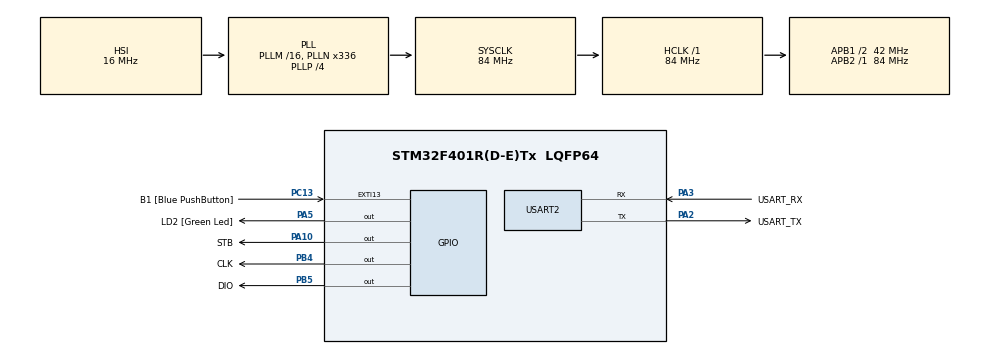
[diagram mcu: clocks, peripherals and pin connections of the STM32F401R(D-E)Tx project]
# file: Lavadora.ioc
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Mcu.Family=STM32F4
Mcu.Name=STM32F401R(D-E)Tx
Mcu.Package=LQFP64
NVIC.PriorityGroup=NVIC_PRIORITYGROUP_4
PA10.GPIO_Label=STB
PA10.Signal=GPIO_Output
PA13.GPIO_Label=TMS
PA13.Mode=Trace_Asynchronous_SW
PA13.Signal=SYS_JTMS-SWDIO
PA14.GPIO_Label=TCK
PA14.Mode=Trace_Asynchronous_SW
PA14.Signal=SYS_JTCK-SWCLK
PA2.GPIO_Label=USART_TX
PA2.GPIO_Mode=GPIO_MODE_AF_PP
PA2.GPIO_PuPd=GPIO_NOPULL
PA2.GPIO_Speed=GPIO_SPEED_FREQ_LOW
PA2.Mode=Asynchronous
PA2.Signal=USART2_TX
PA3.GPIO_Label=USART_RX
PA3.GPIO_Mode=GPIO_MODE_AF_PP
PA3.GPIO_PuPd=GPIO_NOPULL
PA3.GPIO_Speed=GPIO_SPEED_FREQ_LOW
PA3.Mode=Asynchronous
PA3.Signal=USART2_RX
PA5.GPIO_Label=LD2 [Green Led]
PA5.GPIO_Mode=GPIO_MODE_OUTPUT_PP
PA5.GPIO_PuPd=GPIO_NOPULL
PA5.GPIO_Speed=GPIO_SPEED_FREQ_LOW
PA5.Signal=GPIO_Output
PB3.GPIO_Label=SWO
PB3.Mode=Trace_Asynchronous_SW
PB3.Signal=SYS_JTDO-SWO
PB4.GPIO_Label=CLK
PB4.Signal=GPIO_Output
PB5.GPIO_Label=DIO
PB5.Signal=GPIO_Output
PC13-ANTI_TAMP.GPIO_Label=B1 [Blue PushButton]
PC13-ANTI_TAMP.GPIO_ModeDefaultEXTI=GPIO_MODE_IT_FALLING
PC13-ANTI_TAMP.GPIO_PuPd=GPIO_NOPULL
PC13-ANTI_TAMP.Signal=GPXTI13
PC14-OSC32_IN.Mode=LSE-External-Oscillator
PC14-OSC32_IN.Signal=RCC_OSC32_IN
PC15-OSC32_OUT.Mode=LSE-External-Oscillator
PC15-OSC32_OUT.Signal=RCC_OSC32_OUT
PH0\ -\ OSC_IN.Mode=HSE-External-Clock-Source
PH0\ -\ OSC_IN.Signal=RCC_OSC_IN
PH1\ -\ OSC_OUT.Mode=HSE-External-Clock-Source
PH1\ -\ OSC_OUT.Signal=RCC_OSC_OUT
ProjectManager.HeapSize=0x200
ProjectManager.StackSize=0x400
ProjectManager.TargetToolchain=STM32CubeIDE
RCC.48MHZClocksFreq_Value=48000000
RCC.AHBFreq_Value=84000000
RCC.APB1CLKDivider=RCC_HCLK_DIV2
RCC.APB1Freq_Value=42000000
RCC.APB1TimFreq_Value=84000000
RCC.APB2Freq_Value=84000000
RCC.APB2TimFreq_Value=84000000
RCC.CortexFreq_Value=84000000
RCC.HCLKFreq_Value=84000000
RCC.HSE_VALUE=8000000
RCC.HSI_VALUE=16000000
RCC.PLLN=336
RCC.PLLP=RCC_PLLP_DIV4
RCC.PLLQ=7
RCC.SYSCLKFreq_VALUE=84000000
RCC.SYSCLKSource=RCC_SYSCLKSOURCE_PLLCLK
RCC.VCOOutputFreq_Value=336000000
USART2.VirtualMode=VM_ASYNC
board=NUCLEO-F401RE

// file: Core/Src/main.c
/* USER CODE BEGIN Header */
/**
  ******************************************************************************
  * @file           : main.c
  * @brief          : Main program body
  ******************************************************************************
  * @attention
  *
  * Copyright (c) 2026 STMicroelectronics.
  * All rights reserved.
  *
  * This software is licensed under terms that can be found in the LICENSE file
  * in the root directory of this software component.
  * If no LICENSE file comes with this software, it is provided AS-IS.
  *
  ******************************************************************************
  */
/* USER CODE END Header */
#include "main.h"
#include <stdio.h>
/* USER CODE BEGIN Includes */
#include "TM1638.h"
/* USER CODE END Includes */

/* USER CODE BEGIN PTD */
TM1638 TM;
#define TICK_MS 10
/* USER CODE END PTD */

UART_HandleTypeDef huart2;
int faseActual=1;

void SystemClock_Config(void);
static void MX_GPIO_Init(void);
static void MX_USART2_UART_Init(void);

/* USER CODE BEGIN 0 */
enum Estado{
	PARADA,
	FUNCIONANDO,
	PAUSA
};
void representacionTexto(int fase, int valor[3]){
	char caracteres[9];
	sprintf(caracteres, "F%d %d%d.%02d", fase, valor[2], valor[1], valor[0]);
	tm1638_DisplayTxt(&TM, caracteres);
}
void retrocesoCronometro(int valor[3]){
	valor[0]--;
	if(valor[0]<0){
		valor[0]=99;
		valor[1]--;
		if(valor[1]<0){
			valor[1]=9;
			valor[2]--;
			if(valor[2]<0){
				valor[0]=0;
				valor[1]=0;
				valor[2]=0;
			}
		}
	}
}
void controlFase(int nuevaFase, int valor[3]){
	faseActual=nuevaFase;
	int segundosFase=10;
	switch(nuevaFase){
		case 1:
			segundosFase=10;
			break;
		case 2:
			segundosFase=20;
			break;
		case 3:
			segundosFase=30;
			break;
		case 4:
			segundosFase=40;
			break;
	}
	valor[2]=segundosFase/10; //Decenas
	valor[1]=segundosFase%10; //Unidades
	valor[0]=0; //Centesimas
}
/* USER CODE END 0 */

int main(void)
{

  /* MCU Configuration--------------------------------------------------------*/

  /* Reset of all peripherals, Initializes the Flash interface and the Systick. */
  HAL_Init();

  /* Configure the system clock */
  SystemClock_Config();

  /* Initialize all configured peripherals */
  MX_GPIO_Init();
  MX_USART2_UART_Init();
  /* USER CODE BEGIN 2 */
  TM.clk_port=CLK_GPIO_Port;
  TM.clk_pin=CLK_Pin;
  TM.dio_port=DIO_GPIO_Port;
  TM.dio_pin=DIO_Pin;
  TM.stb_port=STB_GPIO_Port;
  TM.stb_pin=STB_Pin;

  tm1638_TurnOn(&TM, 7);
  tm1638_DisplayClear(&TM);

  int valor[3]={0,0,0};
  controlFase(1, valor);
  static uint32_t tCuenta=0;
  tCuenta=HAL_GetTick();

  enum Estado estadoActual=PARADA;
  int teclaAnterior=0;
  /* USER CODE END 2 */

  /* Infinite loop */
  while (1)
  {
	  //LECTURA DE LAS TECLAS
	  uint8_t teclas=tm1638_ScanButtons(&TM);
	  int teclaPulsada=tm1638_ReadKey(&TM, teclas);
	  if(teclaPulsada!=teclaAnterior && teclaPulsada!=0){
		  if(teclaPulsada==1){
			  if(estadoActual==PARADA || estadoActual==PAUSA){
				  estadoActual=FUNCIONANDO;
				  tCuenta=HAL_GetTick(); //Para reiniciar las bases de tiempos!!!
			  }
		  }else if(teclaPulsada==2){
			  if(estadoActual==FUNCIONANDO){
				  estadoActual=PAUSA;
			  }else if(estadoActual==PAUSA){
				  estadoActual=FUNCIONANDO;
				  tCuenta=HAL_GetTick(); //Para reiniciar las bases de tiempos!!!
			  }
		  }else if(teclaPulsada==3){
			  if(estadoActual==FUNCIONANDO || estadoActual==PAUSA){
				  estadoActual=PARADA;
				  controlFase(1, valor);
			  }
		  }
	  }
	  teclaAnterior=teclaPulsada;

	 switch(estadoActual){
	 	 case PARADA:
	 		 tm1638_DisplayTxt(&TM,"PArAdA");
		 	 break;
	 	 case FUNCIONANDO:
	 		 if(HAL_GetTick()-tCuenta>=TICK_MS){
	 			 retrocesoCronometro(valor);
	 			 representacionTexto(faseActual, valor);
	 			 if(valor[0]==0 && valor[1]==0 && valor[2]==0){
	 				 if(faseActual==4){
	 					 estadoActual=PARADA;
	 					 controlFase(1,valor);
	 				 }else{
	 					 controlFase(faseActual+1,valor);
	 				 }
	 			 }
	 			 tCuenta+=TICK_MS;
	 		 }
		 	 break;
	 	 case PAUSA:
	 		 tm1638_DisplayTxt(&TM, "PAUSA");
	 		 break;
	 }

	 //CONTROL DE LOS LEDS
	 int segsRestantesFase=valor[2]*10+valor[1];
	 int segsRestantesLavado=segsRestantesFase;
	 if(faseActual==1){
		 segsRestantesLavado+=90;
	 }else if(faseActual==2){
		 segsRestantesLavado+=70;
	 }else if(faseActual==3){
		 segsRestantesLavado+=40;
	 }
	 int totalTranscurrido=100-segsRestantesLavado;
	 int ledsEncendidos=(totalTranscurrido*8)/100;
	 for(int i=1; i<=8; i++){
		 if(estadoActual==PARADA){
			 tm1638_Led(&TM, i, 0);
		 }else{
			 tm1638_Led(&TM, i, (i<=ledsEncendidos?1:0));
		 }
	 }

  }
}

void SystemClock_Config(void)
{
  RCC_OscInitTypeDef RCC_OscInitStruct = {0};
  RCC_ClkInitTypeDef RCC_ClkInitStruct = {0};

  /** Configure the main internal regulator output voltage
  */
  __HAL_RCC_PWR_CLK_ENABLE();
  __HAL_PWR_VOLTAGESCALING_CONFIG(PWR_REGULATOR_VOLTAGE_SCALE2);

  /** Initializes the RCC Oscillators according to the specified parameters
  * in the RCC_OscInitTypeDef structure.
  */
  RCC_OscInitStruct.OscillatorType = RCC_OSCILLATORTYPE_HSI;
  RCC_OscInitStruct.HSIState = RCC_HSI_ON;
  RCC_OscInitStruct.HSICalibrationValue = RCC_HSICALIBRATION_DEFAULT;
  RCC_OscInitStruct.PLL.PLLState = RCC_PLL_ON;
  RCC_OscInitStruct.PLL.PLLSource = RCC_PLLSOURCE_HSI;
  RCC_OscInitStruct.PLL.PLLM = 16;
  RCC_OscInitStruct.PLL.PLLN = 336;
  RCC_OscInitStruct.PLL.PLLP = RCC_PLLP_DIV4;
  RCC_OscInitStruct.PLL.PLLQ = 7;
  if (HAL_RCC_OscConfig(&RCC_OscInitStruct) != HAL_OK)
  {
    Error_Handler();
  }

  /** Initializes the CPU, AHB and APB buses clocks
  */
  RCC_ClkInitStruct.ClockType = RCC_CLOCKTYPE_HCLK|RCC_CLOCKTYPE_SYSCLK
                              |RCC_CLOCKTYPE_PCLK1|RCC_CLOCKTYPE_PCLK2;
  RCC_ClkInitStruct.SYSCLKSource = RCC_SYSCLKSOURCE_PLLCLK;
  RCC_ClkInitStruct.AHBCLKDivider = RCC_SYSCLK_DIV1;
  RCC_ClkInitStruct.APB1CLKDivider = RCC_HCLK_DIV2;
  RCC_ClkInitStruct.APB2CLKDivider = RCC_HCLK_DIV1;

  if (HAL_RCC_ClockConfig(&RCC_ClkInitStruct, FLASH_LATENCY_2) != HAL_OK)
  {
    Error_Handler();
  }
}

static void MX_USART2_UART_Init(void)
{

  huart2.Instance = USART2;
  huart2.Init.BaudRate = 115200;
  huart2.Init.WordLength = UART_WORDLENGTH_8B;
  huart2.Init.StopBits = UART_STOPBITS_1;
  huart2.Init.Parity = UART_PARITY_NONE;
  huart2.Init.Mode = UART_MODE_TX_RX;
  huart2.Init.HwFlowCtl = UART_HWCONTROL_NONE;
  huart2.Init.OverSampling = UART_OVERSAMPLING_16;
  if (HAL_UART_Init(&huart2) != HAL_OK)
  {
    Error_Handler();
  }

}

static void MX_GPIO_Init(void)
{
  GPIO_InitTypeDef GPIO_InitStruct = {0};

  /* GPIO Ports Clock Enable */
  __HAL_RCC_GPIOC_CLK_ENABLE();
  __HAL_RCC_GPIOH_CLK_ENABLE();
  __HAL_RCC_GPIOA_CLK_ENABLE();
  __HAL_RCC_GPIOB_CLK_ENABLE();

  /*Configure GPIO pin Output Level */
  HAL_GPIO_WritePin(GPIOA, LD2_Pin|STB_Pin, GPIO_PIN_RESET);

  /*Configure GPIO pin Output Level */
  HAL_GPIO_WritePin(GPIOB, CLK_Pin|DIO_Pin, GPIO_PIN_RESET);

  /*Configure GPIO pin : B1_Pin */
  GPIO_InitStruct.Pin = B1_Pin;
  GPIO_InitStruct.Mode = GPIO_MODE_IT_FALLING;
  GPIO_InitStruct.Pull = GPIO_NOPULL;
  HAL_GPIO_Init(B1_GPIO_Port, &GPIO_InitStruct);

  /*Configure GPIO pins : LD2_Pin STB_Pin */
  GPIO_InitStruct.Pin = LD2_Pin|STB_Pin;
  GPIO_InitStruct.Mode = GPIO_MODE_OUTPUT_PP;
  GPIO_InitStruct.Pull = GPIO_NOPULL;
  GPIO_InitStruct.Speed = GPIO_SPEED_FREQ_LOW;
  HAL_GPIO_Init(GPIOA, &GPIO_InitStruct);

  /*Configure GPIO pins : CLK_Pin DIO_Pin */
  GPIO_InitStruct.Pin = CLK_Pin|DIO_Pin;
  GPIO_InitStruct.Mode = GPIO_MODE_OUTPUT_PP;
  GPIO_InitStruct.Pull = GPIO_NOPULL;
  GPIO_InitStruct.Speed = GPIO_SPEED_FREQ_LOW;
  HAL_GPIO_Init(GPIOB, &GPIO_InitStruct);

}

void Error_Handler(void)
{
  __disable_irq();
  while (1)
  {
  }
}
